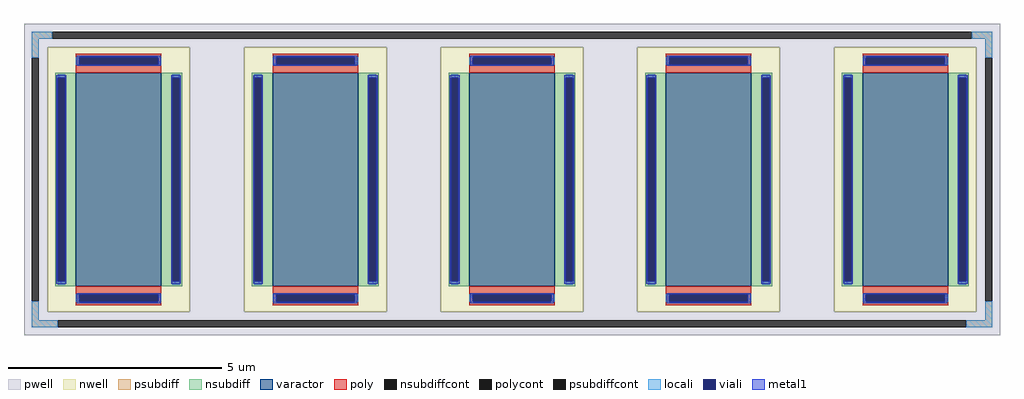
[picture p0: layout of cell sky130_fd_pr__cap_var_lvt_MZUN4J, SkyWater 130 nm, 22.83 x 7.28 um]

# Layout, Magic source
magic
tech sky130A
magscale 1 2
<< nwell >>
rect -2173 -618 -1507 618
rect -1253 -618 -587 618
rect -333 -618 333 618
rect 587 -618 1253 618
rect 1507 -618 2173 618
<< pwell >>
rect -2283 618 2283 728
rect -2283 -618 -2173 618
rect -1507 -618 -1253 618
rect -587 -618 -333 618
rect 333 -618 587 618
rect 1253 -618 1507 618
rect 2173 -618 2283 618
rect -2283 -728 2283 -618
<< varactor >>
rect -2040 -500 -1640 500
rect -1120 -500 -720 500
rect -200 -500 200 500
rect 720 -500 1120 500
rect 1640 -500 2040 500
<< psubdiff >>
rect -2247 658 -2151 692
rect 2151 658 2247 692
rect -2247 569 -2213 658
rect 2213 569 2247 658
rect -2247 -658 -2213 -569
rect 2213 -658 2247 -569
rect -2247 -692 -2124 -658
rect 2124 -692 2247 -658
<< nsubdiff >>
rect -2137 476 -2040 500
rect -2137 -476 -2125 476
rect -2091 -476 -2040 476
rect -2137 -500 -2040 -476
rect -1640 476 -1543 500
rect -1640 -476 -1589 476
rect -1555 -476 -1543 476
rect -1640 -500 -1543 -476
rect -1217 476 -1120 500
rect -1217 -476 -1205 476
rect -1171 -476 -1120 476
rect -1217 -500 -1120 -476
rect -720 476 -623 500
rect -720 -476 -669 476
rect -635 -476 -623 476
rect -720 -500 -623 -476
rect -297 476 -200 500
rect -297 -476 -285 476
rect -251 -476 -200 476
rect -297 -500 -200 -476
rect 200 476 297 500
rect 200 -476 251 476
rect 285 -476 297 476
rect 200 -500 297 -476
rect 623 476 720 500
rect 623 -476 635 476
rect 669 -476 720 476
rect 623 -500 720 -476
rect 1120 476 1217 500
rect 1120 -476 1171 476
rect 1205 -476 1217 476
rect 1120 -500 1217 -476
rect 1543 476 1640 500
rect 1543 -476 1555 476
rect 1589 -476 1640 476
rect 1543 -500 1640 -476
rect 2040 476 2137 500
rect 2040 -476 2091 476
rect 2125 -476 2137 476
rect 2040 -500 2137 -476
<< psubdiffcont >>
rect -2151 658 2151 692
rect -2247 -569 -2213 569
rect 2213 -569 2247 569
rect -2124 -692 2124 -658
<< nsubdiffcont >>
rect -2125 -476 -2091 476
rect -1589 -476 -1555 476
rect -1205 -476 -1171 476
rect -669 -476 -635 476
rect -285 -476 -251 476
rect 251 -476 285 476
rect 635 -476 669 476
rect 1171 -476 1205 476
rect 1555 -476 1589 476
rect 2091 -476 2125 476
<< poly >>
rect -2040 572 -1640 588
rect -2040 538 -2024 572
rect -1656 538 -1640 572
rect -2040 500 -1640 538
rect -1120 572 -720 588
rect -1120 538 -1104 572
rect -736 538 -720 572
rect -1120 500 -720 538
rect -200 572 200 588
rect -200 538 -184 572
rect 184 538 200 572
rect -200 500 200 538
rect 720 572 1120 588
rect 720 538 736 572
rect 1104 538 1120 572
rect 720 500 1120 538
rect 1640 572 2040 588
rect 1640 538 1656 572
rect 2024 538 2040 572
rect 1640 500 2040 538
rect -2040 -538 -1640 -500
rect -2040 -572 -2024 -538
rect -1656 -572 -1640 -538
rect -2040 -588 -1640 -572
rect -1120 -538 -720 -500
rect -1120 -572 -1104 -538
rect -736 -572 -720 -538
rect -1120 -588 -720 -572
rect -200 -538 200 -500
rect -200 -572 -184 -538
rect 184 -572 200 -538
rect -200 -588 200 -572
rect 720 -538 1120 -500
rect 720 -572 736 -538
rect 1104 -572 1120 -538
rect 720 -588 1120 -572
rect 1640 -538 2040 -500
rect 1640 -572 1656 -538
rect 2024 -572 2040 -538
rect 1640 -588 2040 -572
<< polycont >>
rect -2024 538 -1656 572
rect -1104 538 -736 572
rect -184 538 184 572
rect 736 538 1104 572
rect 1656 538 2024 572
rect -2024 -572 -1656 -538
rect -1104 -572 -736 -538
rect -184 -572 184 -538
rect 736 -572 1104 -538
rect 1656 -572 2024 -538
<< locali >>
rect -2247 658 -2151 692
rect 2151 658 2247 692
rect -2247 569 -2213 658
rect -2040 538 -2024 572
rect -1656 538 -1640 572
rect -1120 538 -1104 572
rect -736 538 -720 572
rect -200 538 -184 572
rect 184 538 200 572
rect 720 538 736 572
rect 1104 538 1120 572
rect 1640 538 1656 572
rect 2024 538 2040 572
rect 2213 569 2247 658
rect -2125 476 -2091 492
rect -2125 -492 -2091 -476
rect -1589 476 -1555 492
rect -1589 -492 -1555 -476
rect -1205 476 -1171 492
rect -1205 -492 -1171 -476
rect -669 476 -635 492
rect -669 -492 -635 -476
rect -285 476 -251 492
rect -285 -492 -251 -476
rect 251 476 285 492
rect 251 -492 285 -476
rect 635 476 669 492
rect 635 -492 669 -476
rect 1171 476 1205 492
rect 1171 -492 1205 -476
rect 1555 476 1589 492
rect 1555 -492 1589 -476
rect 2091 476 2125 492
rect 2091 -492 2125 -476
rect -2247 -658 -2213 -569
rect -2040 -572 -2024 -538
rect -1656 -572 -1640 -538
rect -1120 -572 -1104 -538
rect -736 -572 -720 -538
rect -200 -572 -184 -538
rect 184 -572 200 -538
rect 720 -572 736 -538
rect 1104 -572 1120 -538
rect 1640 -572 1656 -538
rect 2024 -572 2040 -538
rect 2213 -658 2247 -569
rect -2247 -692 -2124 -658
rect 2124 -692 2247 -658
<< viali >>
rect -2024 538 -1656 572
rect -1104 538 -736 572
rect -184 538 184 572
rect 736 538 1104 572
rect 1656 538 2024 572
rect -2125 -476 -2091 476
rect -1589 -476 -1555 476
rect -1205 -476 -1171 476
rect -669 -476 -635 476
rect -285 -476 -251 476
rect 251 -476 285 476
rect 635 -476 669 476
rect 1171 -476 1205 476
rect 1555 -476 1589 476
rect 2091 -476 2125 476
rect -2024 -572 -1656 -538
rect -1104 -572 -736 -538
rect -184 -572 184 -538
rect 736 -572 1104 -538
rect 1656 -572 2024 -538
<< metal1 >>
rect -2036 572 -1644 578
rect -2036 538 -2024 572
rect -1656 538 -1644 572
rect -2036 532 -1644 538
rect -1116 572 -724 578
rect -1116 538 -1104 572
rect -736 538 -724 572
rect -1116 532 -724 538
rect -196 572 196 578
rect -196 538 -184 572
rect 184 538 196 572
rect -196 532 196 538
rect 724 572 1116 578
rect 724 538 736 572
rect 1104 538 1116 572
rect 724 532 1116 538
rect 1644 572 2036 578
rect 1644 538 1656 572
rect 2024 538 2036 572
rect 1644 532 2036 538
rect -2131 476 -2085 488
rect -2131 -476 -2125 476
rect -2091 -476 -2085 476
rect -2131 -488 -2085 -476
rect -1595 476 -1549 488
rect -1595 -476 -1589 476
rect -1555 -476 -1549 476
rect -1595 -488 -1549 -476
rect -1211 476 -1165 488
rect -1211 -476 -1205 476
rect -1171 -476 -1165 476
rect -1211 -488 -1165 -476
rect -675 476 -629 488
rect -675 -476 -669 476
rect -635 -476 -629 476
rect -675 -488 -629 -476
rect -291 476 -245 488
rect -291 -476 -285 476
rect -251 -476 -245 476
rect -291 -488 -245 -476
rect 245 476 291 488
rect 245 -476 251 476
rect 285 -476 291 476
rect 245 -488 291 -476
rect 629 476 675 488
rect 629 -476 635 476
rect 669 -476 675 476
rect 629 -488 675 -476
rect 1165 476 1211 488
rect 1165 -476 1171 476
rect 1205 -476 1211 476
rect 1165 -488 1211 -476
rect 1549 476 1595 488
rect 1549 -476 1555 476
rect 1589 -476 1595 476
rect 1549 -488 1595 -476
rect 2085 476 2131 488
rect 2085 -476 2091 476
rect 2125 -476 2131 476
rect 2085 -488 2131 -476
rect -2036 -538 -1644 -532
rect -2036 -572 -2024 -538
rect -1656 -572 -1644 -538
rect -2036 -578 -1644 -572
rect -1116 -538 -724 -532
rect -1116 -572 -1104 -538
rect -736 -572 -724 -538
rect -1116 -578 -724 -572
rect -196 -538 196 -532
rect -196 -572 -184 -538
rect 184 -572 196 -538
rect -196 -578 196 -572
rect 724 -538 1116 -532
rect 724 -572 736 -538
rect 1104 -572 1116 -538
rect 724 -578 1116 -572
rect 1644 -538 2036 -532
rect 1644 -572 1656 -538
rect 2024 -572 2036 -538
rect 1644 -578 2036 -572
<< properties >>
string FIXED_BBOX -2230 -648 2230 648
string gencell sky130_fd_pr__cap_var_lvt
string library sky130
string parameters w 5 l 2 m 1 nf 5 diffcov 100 polycov 100 guard 1 glc 1 grc 1 gtc 1 gbc 1 tbcov 100 rlcov 100 topc 1 botc 1 poverlap 0 doverlap 1 lmin 0.18 wmin 1.0 compatible {sky130_fd_pr__cap_var_lvt  sky130_fd_pr__cap_var_hvt sky130_fd_pr__cap_var} full_metal 1 viasrc 100 viadrn 100 viagate 100 viagb 0 viagr 0 viagl 0 viagt 0
<< end >>
